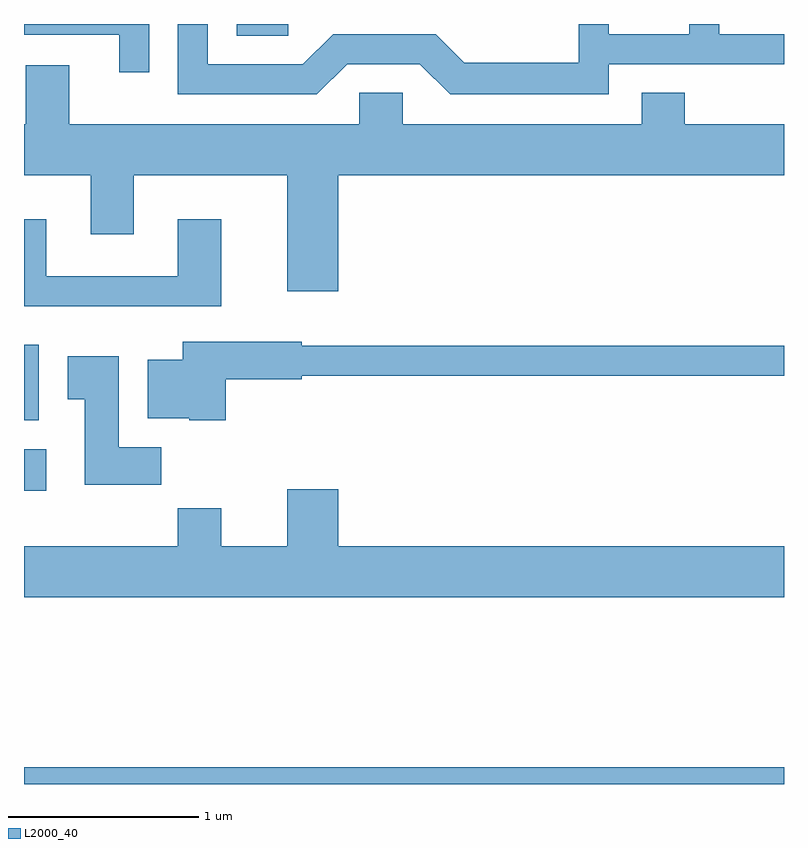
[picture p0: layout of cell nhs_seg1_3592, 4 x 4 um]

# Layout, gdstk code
import gdstk
lib = gdstk.Library(unit=1e-6, precision=1e-09)
def R(c, l, rs):  # rectangles x0, y0, x1, y1
    for r in rs: c.add(gdstk.rectangle(r[:2], r[2:], *l))
def P(c, l, *ps):  # polygons
    for p in ps: c.add(gdstk.Polygon(p, *l))
L2000_40 = (2000, 40)

nhs_seg1_3592 = lib.new_cell('nhs_seg1_3592')
R(nhs_seg1_3592, L2000_40, [(293.611,889.712,297.611,889.799), (293.611,891.256,293.729,891.474), (293.611,891.626,293.689,892.024), (294.731,893.651,295.003,893.712)])
P(nhs_seg1_3592, L2000_40, [(294.269,893.712),(293.611,893.712),(293.611,893.656),(294.111,893.656),(294.111,893.458),(294.269,893.458)],
  [(295.312,893.501),(295.694,893.501),(295.854,893.341),(296.689,893.341),(296.689,893.501),(297.611,893.501),(297.611,893.659),(297.269,893.659),(297.269,893.712),(297.111,893.712),(297.111,893.659),(296.689,893.659),(296.689,893.712),(296.531,893.712),(296.531,893.509),(295.927,893.509),(295.777,893.659),(295.239,893.659),(295.079,893.499),(294.579,893.499),(294.579,893.712),(294.421,893.712),(294.421,893.341),(295.152,893.341)],
  [(297.611,893.184),(297.089,893.184),(297.089,893.349),(296.861,893.349),(296.861,893.184),(295.604,893.184),(295.604,893.349),(295.376,893.349),(295.376,893.184),(293.849,893.184),(293.849,893.494),(293.621,893.494),(293.621,893.184),(293.611,893.184),(293.611,892.916),(293.961,892.916),(293.961,892.606),(294.189,892.606),(294.189,892.916),(294.996,892.916),(294.996,892.306),(295.264,892.306),(295.264,892.916),(297.611,892.916)],
  [(294.649,892.684),(294.421,892.684),(294.421,892.384),(293.729,892.384),(293.729,892.684),(293.611,892.684),(293.611,892.226),(294.649,892.226)],
  [(294.674,891.841),(295.074,891.841),(295.074,891.861),(297.611,891.861),(297.611,892.019),(295.074,892.019),(295.074,892.039),(294.446,892.039),(294.446,891.944),(294.261,891.944),(294.261,891.636),(294.48,891.636),(294.48,891.626),(294.674,891.626)],
  [(294.334,891.484),(294.109,891.484),(294.109,891.964),(293.841,891.964),(293.841,891.736),(293.931,891.736),(293.931,891.286),(294.334,891.286)],
  [(297.611,890.964),(295.264,890.964),(295.264,891.264),(294.996,891.264),(294.996,890.964),(294.649,890.964),(294.649,891.164),(294.421,891.164),(294.421,890.964),(293.611,890.964),(293.611,890.696),(297.611,890.696)])

lib.write_gds('nhs_seg1_3592.gds')
